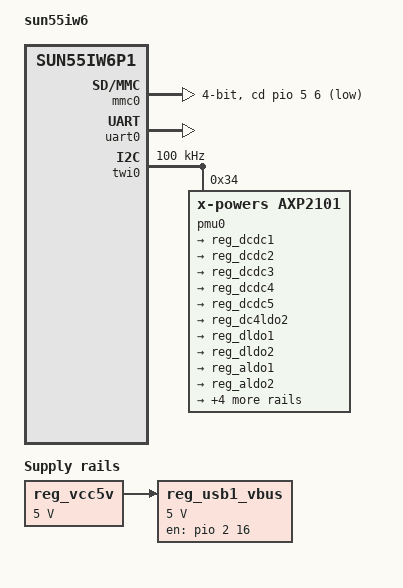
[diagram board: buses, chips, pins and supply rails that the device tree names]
// SPDX-License-Identifier: (GPL-2.0+ or MIT)
/*
 * Allwinner Technology CO., Ltd. sun8iw21p1 platform
 *
 * modify base on juno.dts
 */

/dts-v1/;

#include "sun55iw6p1.dtsi"

/ {
	model = "sun55iw6";
	compatible = "allwinner,ti533", "arm,sun55iw6p1";

	aliases {
		mmc0 = &mmc0;
		serial0 = &uart0;
	};

	chosen {
		stdout-path = "serial0:115200n8";
	};


	firmware {
		optee {
			shm_base = <0x418E0000>;
			shm_size = <0x00020000>;
			ta_ram_base = <0x41a00000>;
			ta_ram_size = <0x00100000>;
			/* trace_level = <0x4>; */
		};
	};

	reg_vcc5v: vcc5v {
		/* board wide 5V supply directly from the USB-C socket */
		compatible = "regulator-fixed";
		regulator-name = "vcc-5v";
		regulator-min-microvolt = <5000000>;
		regulator-max-microvolt = <5000000>;
		regulator-always-on;
	};

	reg_usb1_vbus: regulator-usb1-vbus {
		compatible = "regulator-fixed";
		regulator-name = "usb1-vbus";
		regulator-min-microvolt = <5000000>;
		regulator-max-microvolt = <5000000>;
		vin-supply = <&reg_vcc5v>;
		enable-active-high;
		gpio = <&pio 2 16 GPIO_ACTIVE_HIGH>; /* PC16 */
	};
};

&target {
	auto_fel = <0>;
};

&pio {
	spi0_pins_default: spi0@0 {
		pins = "PC0", "PC2", "PC3"; /* clk, mosi, miso */
		function = "spi0";
		drive-strength = <10>;
	};

	spi0_pins_cs: spi0@1 {
		pins = "PC1", "PC4", "PC5";
		function = "spi0";
		drive-strength = <10>;
		bias-pull-up;   /* cs, hold, wp should be pulled up */
	};
};

&mmc0 {
	cd-gpios = <&pio 5 6 GPIO_ACTIVE_LOW>;	/* PF6 */
	bus-width = <4>;
	status = "okay";
};

&mmc2 {
	bus-width = <4>;
	cap-mmc-highspeed;
	mmc-ddr-1_8v;
	max-frequency = <50000000>;
	sdc_ex_dly_used = <2>;
    status = "disabled";
};

&spi0  {
	pinctrl-0 = <&spi0_pins_default>, <&spi0_pins_cs>;
	pinctrl-names = "default";
	sunxi,spi-bus-mode = <SUNXI_SPI_BUS_FLASH>;
	sunxi,spi-cs-mode = <SUNXI_SPI_CS_SOFT>;
	status = "disabled";

	flash@0 {
		#address-cells = <1>;
		#size-cells = <1>;
		compatible = "jedec,spi-nor";
		reg = <0>;
		spi-max-frequency = <10000000>;
		spi-rx-bus-width = <4>;
		spi-tx-bus-width = <4>;
		status = "disabled";
	};
};

&uart0 {
	pinctrl-names = "default";
	pinctrl-0 = <&uart0_ph_pins>;
	status = "okay";
};

&platform {
	debug_mode = <9>;
};

&power_sply {
	dcdc1_vol = <1003300>;
	dcdc2_vol = <1000920>;
	dcdc3_vol = <3300>;
	aldo1_vol = <1800>;
	aldo2_vol = <3300>;
	aldo3_vol = <1003300>;
	bldo1_vol = <1001800>;
	bldo2_vol = <1800>;
	dcdc1_mode = <0>;
};

&twi0 {
	clock-frequency = <100000>;
	status = "okay";
	pmu0: pmu@34 {
		compatible = "x-powers,axp2101";
		reg = <0x34>;
		status = "okay";

		regulator0: regulators@0 {
			reg_dcdc1: dcdc1 {
				regulator-name = "axp2101-dcdc1";
			};
			reg_dcdc2: dcdc2 {
				regulator-name = "axp2101-dcdc2";
			};
			reg_dcdc3: dcdc3 {
				regulator-name = "axp2101-dcdc3";
			};
			reg_dcdc4: dcdc4 {
				regulator-name = "axp2101-dcdc4";
			};
			reg_dcdc5: dcdc5 {
				regulator-name = "axp2101-dcdc5";
			};
			reg_dc4ldo2:dc4ldo2 {
				regulator-name = "axp2101-dc4ldo2";
			};
			reg_dldo1: dldo1 {
				regulator-name = "axp2101-dldo1";
			};
			reg_dldo2: dldo2 {
				regulator-name = "axp2101-dldo2";
			};
			reg_aldo1: aldo1 {
				regulator-name = "axp2101-aldo1";
			};
			reg_aldo2: aldo2 {
				regulator-name = "axp2101-aldo2";
			};
			reg_aldo3: aldo3 {
				regulator-name = "axp2101-aldo3";
			};
			reg_aldo4: aldo4 {
				regulator-name = "axp2101-aldo4";
			};
			reg_bldo1: bldo1 {
				regulator-name = "axp2101-bldo1";
			};
			reg_bldo2: bldo2 {
				regulator-name = "axp2101-bldo2";
			};
		};
	};
};
